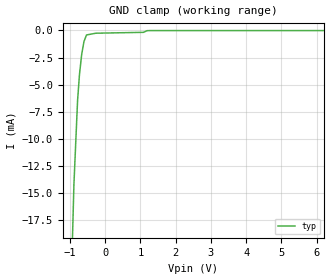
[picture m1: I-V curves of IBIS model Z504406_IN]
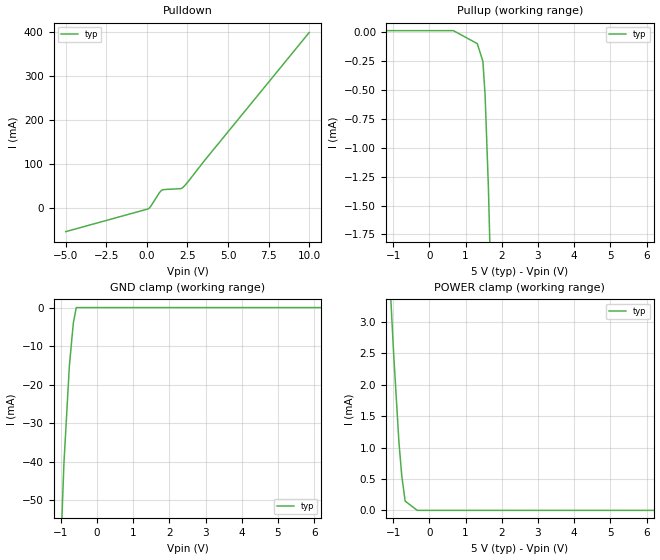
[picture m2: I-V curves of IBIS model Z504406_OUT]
| YOU ARE ONLY AUTHORIZED TO USE THIS SOFTWARE
| ACCORDING TO LICENSOR'S LICENSE RESTRICTIONS.
[IBIS Ver] 3.1
[File Name] sn54ls192j.ibs
[File Rev] 2.0
[Source] Measured and created by ICX Technology
[Date] Friday 7/14/00 9:08:14 AM
[Copyright]
| (C) COPYRIGHT 1993-2000
| MENTOR GRAPHICS CORPORATION
| ICX STANDARD LIBRARY, ICX PROJECT MODELING,
| ICX CUSTOM MODELING, ICX VENDOR MODEL
| ALL RIGHTS RESERVED.
| THE FOLLOWING ARE TRADEMARKS OR SERVICE MARKS OF
| MENTOR GRAPHICS CORPORATION:ICX (R), ICX STANDARD
| LIBRARY(R), ICX PROJECT MODELING(R), ICX CUSTOM
| MODELING(R), qualityIBIS(TM), MODELVIEWER(TM),
| AND MODELEDITOR(TM)
| ALL COPIES OF SOFTWARE, INCLUDING BUT NOT LIMITED TO
| ANY MODIFICATIONS, ENHANCEMENTS OR DERIVATIVE WORKS,
| MUST CONTAIN ALL MENTOR GRAPHICS CORPORATION'S
| NOTICES AND LEGENDS, INCLUDING THOSE EMBEDDED IN
| SOFTWARE AND THOSE AFFIXED TO SOFTWARE MEDIUM
| AND CONTAINER, AS RECEIVED FROM MENTOR GRAPHICS
| CORPORATION.
|  ZAP Model Builder 2.7
[Component] SN54LS192J
[Manufacturer] OnSemiconductor
[Package]
| variable   typ   min   max
R_pkg  .212ohms NA NA
L_pkg  4.758nH NA NA
C_pkg  1.944pF NA NA
[Pin] signal_name  model_name  R_pin  L_pin C_pin
1 B Z504406_IN .224 7.258n 2.683p
2 QB Z504406_OUT .216 5.258n 2.19p
3 QA Z504406_OUT .208 3.758n 1.697p
4 DOWN Z504406_IN .2 2.758n 1.204p
5 UP Z504406_IN .2 2.758n 1.204p
6 QC Z504406_OUT .208 3.758n 1.697p
7 QD Z504406_OUT .216 5.258n 2.19p
8 GND GND .224 7.258n 2.683p
9 D Z504406_IN .224 7.258n 2.683p
10 C Z504406_IN .216 5.258n 2.19p
11 _LOAD Z504406_IN .208 3.758n 1.697p
12 _CO Z504406_OUT .2 2.758n 1.204p
13 _BO Z504406_OUT .2 2.758n 1.204p
14 CLR Z504406_IN .208 3.758n 1.697p
15 A Z504406_IN .216 5.258n 2.19p
16 VCC POWER .224 7.258n 2.683p
| Models and submodels in the file (2): Z504406_IN (Input), Z504406_OUT (Output)
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| (C) COPYRIGHT 1993-2000
| MENTOR GRAPHICS CORPORATION
| ICX STANDARD LIBRARY, ICX PROJECT MODELING,
| ICX CUSTOM MODELING, ICX VENDOR MODEL
| ALL RIGHTS RESERVED.
| THE FOLLOWING ARE TRADEMARKS OR SERVICE MARKS OF
| MENTOR GRAPHICS CORPORATION:ICX (R), ICX STANDARD
| LIBRARY(R), ICX PROJECT MODELING(R), ICX CUSTOM
| MODELING(R), qualityIBIS(TM), MODELVIEWER(TM),
| AND MODELEDITOR(TM)
| ALL COPIES OF SOFTWARE, INCLUDING BUT NOT LIMITED TO
| ANY MODIFICATIONS, ENHANCEMENTS OR DERIVATIVE WORKS,
| MUST CONTAIN ALL MENTOR GRAPHICS CORPORATION'S
| NOTICES AND LEGENDS, INCLUDING THOSE EMBEDDED IN
| SOFTWARE AND THOSE AFFIXED TO SOFTWARE MEDIUM
| AND CONTAINER, AS RECEIVED FROM MENTOR GRAPHICS
| CORPORATION.
| Model Application Version 1.89 2/18/99.
[Model] Z504406_IN
Model_type Input
Vinl = 800.0mV
Vinh = 2.000V
C_comp 4.000pF NA NA
| variable typ   min   max
[Voltage Range] 5.000V NA NA
[GND Clamp Reference] 0.000V NA NA
[POWER Clamp Reference] 5.000V NA NA
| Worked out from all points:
|   GND clamp passes 1 mA (typ) near -0.60 V on its own axis
[GND Clamp]
-5V       -511.9mA   NA         NA
-883.8mV  -14.21mA   NA         NA
-781.3mV  -6.53mA    NA         NA
-727.6mV  -4.107mA   NA         NA
-664.1mV  -2.212mA   NA         NA
-599.1mV  -1.022mA   NA         NA
-527.3mV  -413.6uA   NA         NA
-263.7mV  -252uA     NA         NA
1.089V    -170.1uA   NA         NA
1.187V    -19.99uA   NA         NA
1.265V    -9.126uA   NA         NA
10V       -9.126uA   NA         NA
[POWER Clamp]
-5V       0A         NA         NA
10V       0A         NA         NA
| (C) COPYRIGHT 1993-2000
| MENTOR GRAPHICS CORPORATION
| ICX STANDARD LIBRARY, ICX PROJECT MODELING,
| ICX CUSTOM MODELING, ICX VENDOR MODEL
| ALL RIGHTS RESERVED.
| THE FOLLOWING ARE TRADEMARKS OR SERVICE MARKS OF
| MENTOR GRAPHICS CORPORATION:ICX (R), ICX STANDARD
| LIBRARY(R), ICX PROJECT MODELING(R), ICX CUSTOM
| MODELING(R), qualityIBIS(TM), MODELVIEWER(TM),
| AND MODELEDITOR(TM)
| ALL COPIES OF SOFTWARE, INCLUDING BUT NOT LIMITED TO
| ANY MODIFICATIONS, ENHANCEMENTS OR DERIVATIVE WORKS,
| MUST CONTAIN ALL MENTOR GRAPHICS CORPORATION'S
| NOTICES AND LEGENDS, INCLUDING THOSE EMBEDDED IN
| SOFTWARE AND THOSE AFFIXED TO SOFTWARE MEDIUM
| AND CONTAINER, AS RECEIVED FROM MENTOR GRAPHICS
| CORPORATION.
| Model Application Version 1.89 2/18/99.
[Model] Z504406_OUT
Model_type Output
Vref=5.000V
Rref=2.000kohms
Cref=15.00pF
Vmeas=1.300V
C_comp 8.000pF NA NA
| variable typ   min   max
[Voltage Range] 5.000V NA NA
[POWER Clamp Reference] 5.000V NA NA
[Pullup Reference] 5.000V NA NA
[Pulldown Reference] 0.000V NA NA
[GND Clamp Reference] 0.000V NA NA
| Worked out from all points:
|   slope of the pulldown table from 0 to 0.75 V, typ, clamps not added: 20.7 ohm
|   slope of the pullup table from 0 to 0.75 V, typ, clamps not added: 51.4 kohm
|   GND clamp passes 1 mA (typ) near -0.59 V on its own axis
|   POWER clamp passes 1 mA (typ) near -0.83 V on its own axis
[GND Clamp]
-5V       -1.695A    NA         NA
-1.108V   -98.01mA   NA         NA
-1.003V   -63.67mA   NA         NA
-913mV    -40.43mA   NA         NA
-761.7mV  -15.03mA   NA         NA
-653.7mV  -4.07mA    NA         NA
-572mV    0A         NA         NA
10V       0A         NA         NA
[Pulldown]
-5V       -52.81mA   NA         NA
68.78mV   -1.216mA   NA         NA
224.6mV   3.966mA    NA         NA
787.4mV   36.43mA    NA         NA
942.5mV   41.84mA    NA         NA
2.055V    44.88mA    NA         NA
2.212V    47.37mA    NA         NA
2.578V    62.53mA    NA         NA
3.557V    109mA      NA         NA
10V       399.8mA    NA         NA
[Pullup]
-5V       11.33uA    NA         NA
664mV     11.33uA    NA         NA
1.324V    -100.7uA   NA         NA
1.479V    -253.5uA   NA         NA
1.54V     -545.5uA   NA         NA
1.631V    -1.34mA    NA         NA
10V       -103.1mA   NA         NA
[POWER Clamp]
-5V       47.45mA    NA         NA
-986mV    2.486mA    NA         NA
-840mV    1.08mA     NA         NA
-762mV    549.6uA    NA         NA
-669mV    147.4uA    NA         NA
-334.5mV  0A         NA         NA
10V       0A         NA         NA
[Ramp]
| variable typ min max
dV/dt_r 1.723/7.671n NA NA
dV/dt_f 1.723/2.602n NA NA
R_load = 500.0Ohms
